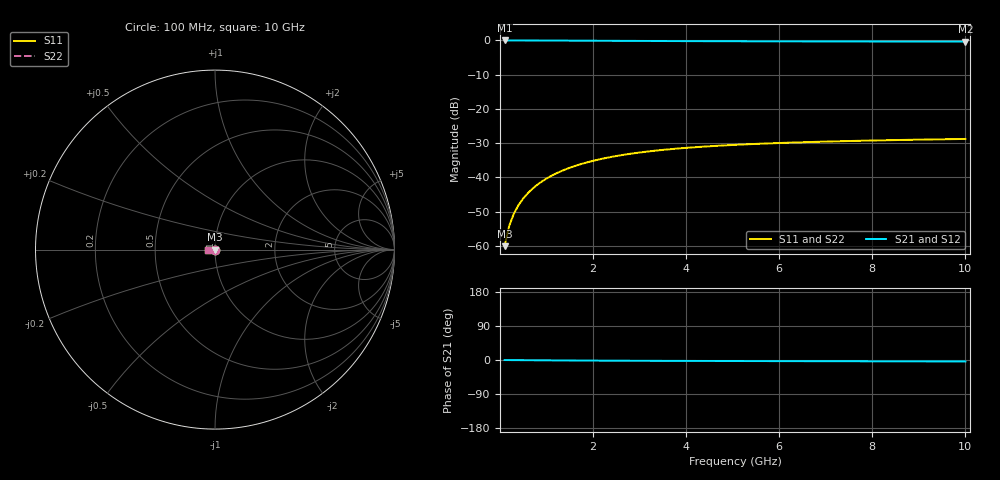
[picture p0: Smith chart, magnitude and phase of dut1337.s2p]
! Touchstone file exported from HFSS 2024.1.0
!  File:  C:/UserFiles/LocalFiles/RDL_TSV_Batchsim/temp_TSV1_1337_1780375951.aedt
!  Generated:  12:58:14 PM Jun  2, 2026
!  Design:  TSV1
!  Project:  temp_TSV1_1337_1780375951
!  Setup:  Setup1
!  Solution:  Sweep
! Variables:
!  dtsv = 10.99um
!  hbump = 3um
!  htsv = 58.09um
!  lrdl = 252.1521522um
!  p = 40
!  p1 = 47.47um
!  t = 500um
!  trdl = 3um
!  wrdl = 24.89489489um
# GHz S MA R 50.000000
! Terminal data exported
! Port[1] = TSV22_T1
! Port[2] = TSV22_T2
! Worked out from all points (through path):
!   100 points, 100 MHz to 10 GHz, reference 50 ohm
!   highest |S21| = 0.00 dB at 100 MHz (marker M1); lowest = -0.3 dB at 10 GHz (marker M2)
!   lowest |S11| = -60.1 dB at 100 MHz (marker M3), VSWR 1.00, Z = 50 - j0.0989 ohm
!   |S11| at or under -10 dB: start of sweep to end of sweep
!   |S22| runs from -60.1 to -28.8 dB; largest |S21 - S12| = 1e-14
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0.1  0.000991 -85.9  0.9999 -0.1  0.9999 -0.1  0.000991 -85.9
! Gamma 0 0 0 0
! Port Impedance 50 0 50 0
0.2  0.001978 -90.3  0.9998 -0.2  0.9998 -0.2  0.001978 -90.3
0.3  0.002967 -92.9  0.9996 -0.3  0.9996 -0.3  0.002967 -92.9
0.4  0.003953 -95.1  0.9994 -0.4  0.9994 -0.4  0.003953 -95.1
0.5  0.004931 -97.1  0.9991 -0.5  0.9991 -0.5  0.004931 -97.1
0.6  0.005898 -99.0  0.9988 -0.6  0.9988 -0.6  0.005898 -99.0
0.7  0.006853 -100.9  0.9984 -0.6  0.9984 -0.6  0.006853 -100.9
0.8  0.007792 -102.6  0.998 -0.7  0.998 -0.7  0.007792 -102.6
0.9  0.008714 -104.4  0.9975 -0.8  0.9975 -0.8  0.008714 -104.4
1.1  0.0105 -107.8  0.9965 -1.0  0.9965 -1.0  0.0105 -107.8
1.4  0.01303 -112.6  0.9947 -1.2  0.9947 -1.2  0.01303 -112.6
1.6  0.0146 -115.6  0.9933 -1.3  0.9933 -1.3  0.0146 -115.6
1.8  0.01608 -118.5  0.992 -1.5  0.992 -1.5  0.01608 -118.5
2.1  0.01812 -122.6  0.9899 -1.7  0.9899 -1.7  0.01812 -122.6
2.5  0.02054 -127.7  0.9871 -1.9  0.9871 -1.9  0.02054 -127.7
2.9  0.02262 -132.2  0.9845 -2.0  0.9845 -2.0  0.02262 -132.2
3.4  0.02483 -137.4  0.9814 -2.2  0.9814 -2.2  0.02483 -137.4
4.2  0.02763 -144.4  0.9772 -2.5  0.9772 -2.5  0.02763 -144.4
5.1  0.03 -151.0  0.9733 -2.7  0.9733 -2.7  0.03 -151.0
6.7  0.03292 -160.3  0.9684 -3.1  0.9684 -3.1  0.03292 -160.3
8.4  0.035 -168.1  0.9649 -3.5  0.9649 -3.5  0.035 -168.1
10  0.03646 -174.1  0.9626 -3.9  0.9626 -3.9  0.03646 -174.1
